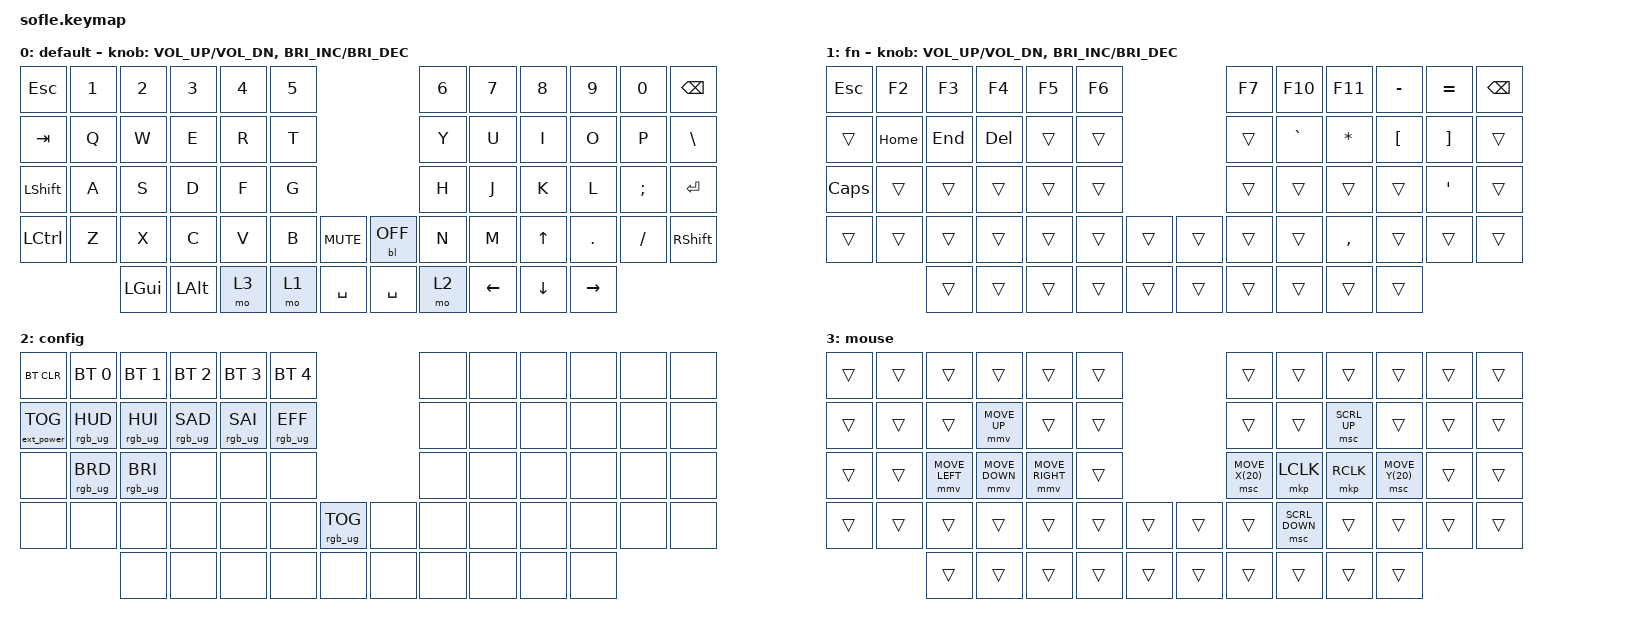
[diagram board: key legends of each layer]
/*
 * Copyright (c) 2020 The ZMK Contributors
 *
 * SPDX-License-Identifier: MIT
 */

#include <dt-bindings/zmk/mouse.h>
#include <behaviors/mouse_keys.dtsi>
#include <behaviors.dtsi>
#include <dt-bindings/zmk/backlight.h>
#include <dt-bindings/zmk/bt.h>
#include <dt-bindings/zmk/ext_power.h>
#include <dt-bindings/zmk/keys.h>
#include <dt-bindings/zmk/pointing.h>
#include <dt-bindings/zmk/rgb.h>

#define BASE 0
#define LOWER 1
#define RAISE 2
#define ADJUST 3

/ {
    // Activate ADJUST layer by pressing raise and lower

    conditional_layers {
        compatible = "zmk,conditional-layers";

        adjust_layer {
            if-layers = <1 2>;
            then-layer = <2>;
        };
    };

    keymap {
        compatible = "zmk,keymap";

        default_layer {
            display-name = "default";

            // ------------------------------------------------------------------------------------------------------------
            // |   `   |  1  |  2  |  3   |  4   |  5   |                   |  6   |  7    |  8    |  9   |   0   |       |
            // |  ESC  |  Q  |  W  |  E   |  R   |  T   |                   |  Y   |  U    |  I    |  O   |   P   | BKSPC |
            // |  TAB  |  A  |  S  |  D   |  F   |  G   |                   |  H   |  J    |  K    |  L   |   ;   |   '   |
            // | SHIFT |  Z  |  X  |  C   |  V   |  B   |  MUTE  |  |       |  N   |  M    |  ,    |  .   |   /   | SHIFT |
            //               | GUI | ALT  | CTRL | LOWER|  ENTER |  | SPACE | RAISE| CTRL  | ALT   | GUI  |

            bindings = <
&kp ESC           &kp N1  &kp N2    &kp N3        &kp N4  &kp N5                            &kp N6  &kp N7          &kp N8          &kp N9           &kp N0         &kp BACKSPACE
&kp TAB           &kp Q   &kp W     &kp E         &kp R   &kp T                             &kp Y   &kp U           &kp I           &kp O            &kp P          &kp BACKSLASH
&kp LEFT_SHIFT    &kp A   &kp S     &kp D         &kp F   &kp G                             &kp H   &kp J           &kp K           &kp L            &kp SEMICOLON  &kp RETURN
&kp LEFT_CONTROL  &kp Z   &kp X     &kp C         &kp V   &kp B   &kp C_MUTE    &bl BL_OFF  &kp N   &kp M           &kp UP_ARROW    &kp DOT          &kp SLASH      &kp RIGHT_SHIFT
                          &kp LGUI  &kp LEFT_ALT  &mo 3   &mo 1   &kp SPACE     &kp SPACE   &mo 2   &kp LEFT_ARROW  &kp DOWN_ARROW  &kp RIGHT_ARROW
            >;

            sensor-bindings =
                <&inc_dec_kp C_VOL_UP C_VOL_DN>,
                <&inc_dec_kp C_BRIGHTNESS_INC C_BRIGHTNESS_DEC>;
        };

        custom {
            display-name = "fn";

            // TODO: Some binds are waiting for shifted keycode support.
            // ------------------------------------------------------------------------------------------------------------
            // |       |  F1 |  F2 |  F3  |  F4  |  F5  |                   |  F6  |  F7   |  F8   |  F9  |  F10  |  F11  |
            // |   `   |  1  |  2  |  3   |  4   |  5   |                   |  6   |  7    |  8    |  9   |   0   |  F12  |
            // |       |  !  |  @  |  #   |  $   |  %   |                   |  ^   |  &    |  *    |  (   |   )   |   |   |
            // |       |  =  |  -  |  +   |  {   |  }   |        |  |       |  [   |  ]    |  ;    |  :   |   \   |       |
            //               |     |      |      |      |        |  |       |      |       |       |      |

            bindings = <
&kp ESCAPE    &kp F2    &kp F3   &kp F4      &kp F5  &kp F6                    &kp F7  &kp F10    &kp F11       &kp MINUS         &kp EQUAL          &kp BACKSPACE
&trans        &kp HOME  &kp END  &kp DELETE  &trans  &trans                    &trans  &kp GRAVE  &kp ASTERISK  &kp LEFT_BRACKET  &kp RIGHT_BRACKET  &trans
&kp CAPSLOCK  &trans    &trans   &trans      &trans  &trans                    &trans  &trans     &trans        &trans            &kp SQT            &trans
&trans        &trans    &trans   &trans      &trans  &trans  &trans    &trans  &trans  &trans     &kp COMMA     &trans            &trans             &trans
                        &trans   &trans      &trans  &trans  &trans    &trans  &trans  &trans     &trans        &trans
            >;

            sensor-bindings =
                <&inc_dec_kp C_VOL_UP C_VOL_DN>,
                <&inc_dec_kp C_BRIGHTNESS_INC C_BRIGHTNESS_DEC>;
        };

        adjust_layer {
            // ----------------------------------------------------------------------------------------------------------------------------
            // | BTCLR  |  BT1    |  BT2    |   BT3   |   BT4   |   BT5   |                  |      |      |       |      |       |       |
            // | EXTPWR | RGB_HUD | RGB_HUI | RGB_SAD | RGB_SAI | RGB_EFF |                  |      |      |       |      |       |       |
            // |        | RGB_BRD | RGB_BRI |         |         |         |                  |      |      |       |      |       |       |
            // |        |         |         |         |         |         | RGB_TOG | |      |      |      |       |      |       |       |
            //                    |         |         |         |         |         | |      |      |      |       |      |

            display-name = "config";
            bindings = <
&bt BT_CLR         &bt BT_SEL 0     &bt BT_SEL 1     &bt BT_SEL 2     &bt BT_SEL 3     &bt BT_SEL 4                               &none  &none  &none  &none  &none  &none
&ext_power EP_TOG  &rgb_ug RGB_HUD  &rgb_ug RGB_HUI  &rgb_ug RGB_SAD  &rgb_ug RGB_SAI  &rgb_ug RGB_EFF                            &none  &none  &none  &none  &none  &none
&none              &rgb_ug RGB_BRD  &rgb_ug RGB_BRI  &none            &none            &none                                      &none  &none  &none  &none  &none  &none
&none              &none            &none            &none            &none            &none            &rgb_ug RGB_TOG    &none  &none  &none  &none  &none  &none  &none
                                    &none            &none            &none            &none            &none              &none  &none  &none  &none  &none
            >;
        };

        mouse {
            bindings = <
&trans  &trans  &trans          &trans          &trans           &trans                    &trans           &trans          &trans        &trans           &trans  &trans
&trans  &trans  &trans          &mmv MOVE_UP    &trans           &trans                    &trans           &trans          &msc SCRL_UP  &trans           &trans  &trans
&trans  &trans  &mmv MOVE_LEFT  &mmv MOVE_DOWN  &mmv MOVE_RIGHT  &trans                    &msc MOVE_X(20)  &mkp LCLK       &mkp RCLK     &msc MOVE_Y(20)  &trans  &trans
&trans  &trans  &trans          &trans          &trans           &trans  &trans    &trans  &trans           &msc SCRL_DOWN  &trans        &trans           &trans  &trans
                &trans          &trans          &trans           &trans  &trans    &trans  &trans           &trans          &trans        &trans
            >;
        };
    };
};
